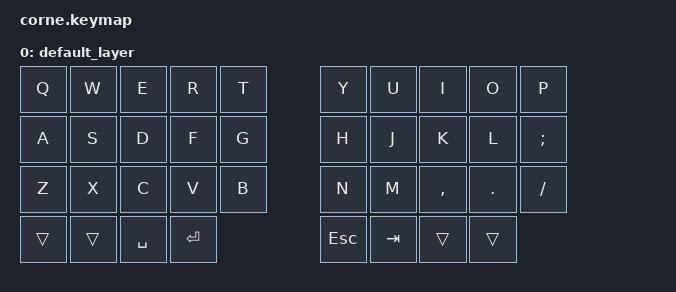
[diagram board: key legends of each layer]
#include <behaviors.dtsi>
#include <dt-bindings/zmk/keys.h>
#include <dt-bindings/zmk/matrix_transform.h>
#include "physical_layouts.dtsi"


/ {
  chosen {
    zmk,matrix-transform = &five_column_transform;
  };

  keymap {
    compatible = "zmk,keymap";

    default_layer {
      bindings = <
        &kp Q  &kp W  &kp E  &kp R  &kp T           &kp Y  &kp U  &kp I  &kp O  &kp P
        &kp A  &kp S  &kp D  &kp F  &kp G           &kp H  &kp J  &kp K  &kp L  &kp SCLN
        &kp Z  &kp X  &kp C  &kp V  &kp B           &kp N  &kp M  &kp COMMA &kp DOT &kp SLASH
        &trans &trans &kp SPACE &kp ENTER          &kp ESC &kp TAB &trans &trans
      >;
    };
  };
};
